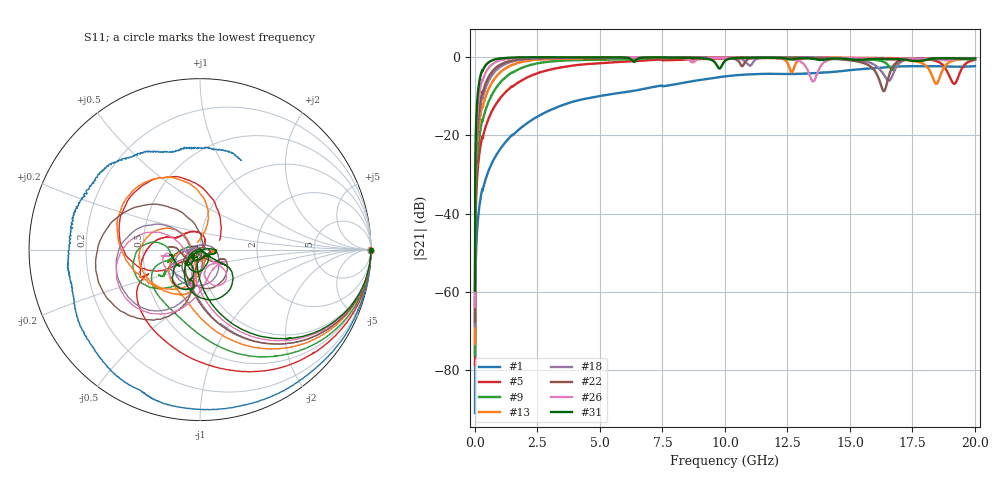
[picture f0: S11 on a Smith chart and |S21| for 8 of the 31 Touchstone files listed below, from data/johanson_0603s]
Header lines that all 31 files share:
!Johanson Technology Inc.
!www.johansontechnology.com
!Test Board Conditions:
!Substrate Type  RO4350B
!Substrate Thickness  20 mil
!Substrate Dk  3.66
!TL Type: GCPW
!TL Trace Width  36 mil
!TL Gap  12 mil
!Electrode orientation  Horizontal
!DUT TOPOLOGY	SERIES
!Mounting Pad LxW  26x36 mil
! 2 Port Network Data from SP1.SP block
! freq  magS11  angS11  magS21  angS21  magS12  angS12  magS22  angS22
! decimated to every 10th point (10 MHz spacing) of the original 1 MHz Johanson file; values unchanged
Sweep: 300 kHz to 20 GHz
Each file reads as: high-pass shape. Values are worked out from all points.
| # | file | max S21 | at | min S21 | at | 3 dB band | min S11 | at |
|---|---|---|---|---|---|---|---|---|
| 1 | R14S0R1-H-SER.s2p | -2.29 dB | 17.54 GHz | -91.0 dB | 300 kHz | 9.61 GHz-20 GHz | -4.8 dB | 20 GHz |
| 2 | R14S0R2-H-SER.s2p | -0.32 dB | 20 GHz | -86.2 dB | 300 kHz | 7.81 GHz-20 GHz | -20.7 dB | 20 GHz |
| 3 | R14S0R3-H-SER.s2p | -0.21 dB | 19.34 GHz | -82.4 dB | 300 kHz | 5.31 GHz-20 GHz | -50.1 dB | 19.06 GHz |
| 4 | R14S0R4-H-SER.s2p | -0.19 dB | 15.13 GHz | -79.6 dB | 300 kHz | 4 GHz-20 GHz | -29.7 dB | 15.55 GHz |
| 5 | R14S0R5-H-SER.s2p | -0.15 dB | 14.79 GHz | -78.7 dB | 300 kHz | 3.04 GHz-18.84 GHz | -41.4 dB | 15.22 GHz |
| 6 | R14S0R6-H-SER.s2p | -0.14 dB | 13.52 GHz | -79.3 dB | 300 kHz | 2.51 GHz-17.9 GHz | -36.3 dB | 14.45 GHz |
| 7 | R14S0R7-H-SER.s2p | -0.10 dB | 11.92 GHz | -78.6 dB | 300 kHz | 2.24 GHz-16.68 GHz | -34.2 dB | 12.67 GHz |
| 8 | R14S0R8-H-SER.s2p | -0.11 dB | 10.92 GHz | -77.3 dB | 300 kHz | 2.03 GHz-16.71 GHz | -38.3 dB | 12.09 GHz |
| 9 | R14S0R9-H-SER.s2p | -0.09 dB | 9.47 GHz | -76.3 dB | 300 kHz | 1.75 GHz-16.65 GHz | -44.4 dB | 10.06 GHz |
| 10 | R14S1R0-H-SER.s2p | -0.14 dB | 10.58 GHz | -77.6 dB | 300 kHz | 1.62 GHz-14.53 GHz | -34.8 dB | 10.83 GHz |
| 11 | R14S1R1-H-SER.s2p | -0.12 dB | 9.35 GHz | -73.7 dB | 300 kHz | 1.42 GHz-14.33 GHz | -41.8 dB | 10.18 GHz |
| 12 | R14S1R2-H-SER.s2p | -0.07 dB | 9.51 GHz | -74.5 dB | 300 kHz | 1.35 GHz-13.43 GHz | -45.8 dB | 9.43 GHz |
| 13 | R14S1R3-H-SER.s2p | -0.05 dB | 9.07 GHz | -73.4 dB | 300 kHz | 1.18 GHz-12.59 GHz | -26.8 dB | 14.01 GHz |
| 14 | R14S1R4-H-SER.s2p | -0.05 dB | 9.24 GHz | -72.2 dB | 300 kHz | 1.11 GHz-12.37 GHz | -26.1 dB | 13.66 GHz |
| 15 | R14S1R5-H-SER.s2p | -0.06 dB | 7.59 GHz | -71.4 dB | 300 kHz | 1.07 GHz-17.57 GHz | -29.2 dB | 13.02 GHz |
| 16 | R14S1R6-H-SER.s2p | -0.06 dB | 7.68 GHz | -71.8 dB | 300 kHz | 1.03 GHz-17.1 GHz | -30.1 dB | 19.63 GHz |
| 17 | R14S1R7-H-SER.s2p | -0.06 dB | 8.68 GHz | -68.6 dB | 300 kHz | 950.3 MHz-16.67 GHz | -37.4 dB | 12.28 GHz |
| 18 | R14S1R8-H-SER.s2p | -0.04 dB | 8.71 GHz | -68.8 dB | 300 kHz | 900.3 MHz-16.17 GHz | -54.1 dB | 13.26 GHz |
| 19 | R14S1R9-H-SER.s2p | -0.04 dB | 7.48 GHz | -68.8 dB | 300 kHz | 860.3 MHz-16.46 GHz | -66.7 dB | 8.1 GHz |
| 20 | R14S2R0-H-SER.s2p | -0.05 dB | 7.47 GHz | -67.8 dB | 300 kHz | 830.3 MHz-15.39 GHz | -36.1 dB | 16.95 GHz |
| 21 | R14S2R1-H-SER.s2p | -0.05 dB | 7.47 GHz | -67.9 dB | 300 kHz | 770.3 MHz-14.88 GHz | -50.5 dB | 12.43 GHz |
| 22 | R14S2R2-H-SER.s2p | -0.06 dB | 7.48 GHz | -67.7 dB | 300 kHz | 780.3 MHz-15.93 GHz | -39.8 dB | 10.89 GHz |
| 23 | R14S2R4-H-SER.s2p | -0.05 dB | 6.35 GHz | -66.8 dB | 300 kHz | 720.3 MHz-13.83 GHz | -42.1 dB | 10.26 GHz |
| 24 | R14S2R7-H-SER.s2p | -0.05 dB | 6.8 GHz | -66.2 dB | 300 kHz | 630.3 MHz-13.72 GHz | -46.9 dB | 7.43 GHz |
| 25 | R14S3R0-H-SER.s2p | -0.05 dB | 6.79 GHz | -64.5 dB | 300 kHz | 570.3 MHz-13.34 GHz | -41.5 dB | 7.49 GHz |
| 26 | R14S3R3-H-SER.s2p | -0.04 dB | 6.79 GHz | -63.9 dB | 300 kHz | 520.3 MHz-13.28 GHz | -44.5 dB | 7.3 GHz |
| 27 | R14S3R6-H-SER.s2p | -0.05 dB | 6.36 GHz | -63.4 dB | 300 kHz | 480.3 MHz-12.1 GHz | -44.6 dB | 7.16 GHz |
| 28 | R14S3R9-H-SER.s2p | -0.04 dB | 5.2 GHz | -62.5 dB | 300 kHz | 440.3 MHz-12.05 GHz | -39.6 dB | 6.04 GHz |
| 29 | R14S4R3-H-SER.s2p | -0.03 dB | 2.8 GHz | -61.7 dB | 300 kHz | 400.3 MHz-12 GHz | -44.6 dB | 6.66 GHz |
| 30 | R14S4R7-H-SER.s2p | -0.02 dB | 2.57 GHz | -60.4 dB | 300 kHz | 370.3 MHz-12.03 GHz | -46.8 dB | 6.78 GHz |
| 31 | R14S5R1-H-SER.s2p | -0.03 dB | 2.8 GHz | -59.7 dB | 300 kHz | 340.3 MHz-20 GHz | -45.6 dB | 10.1 GHz |
